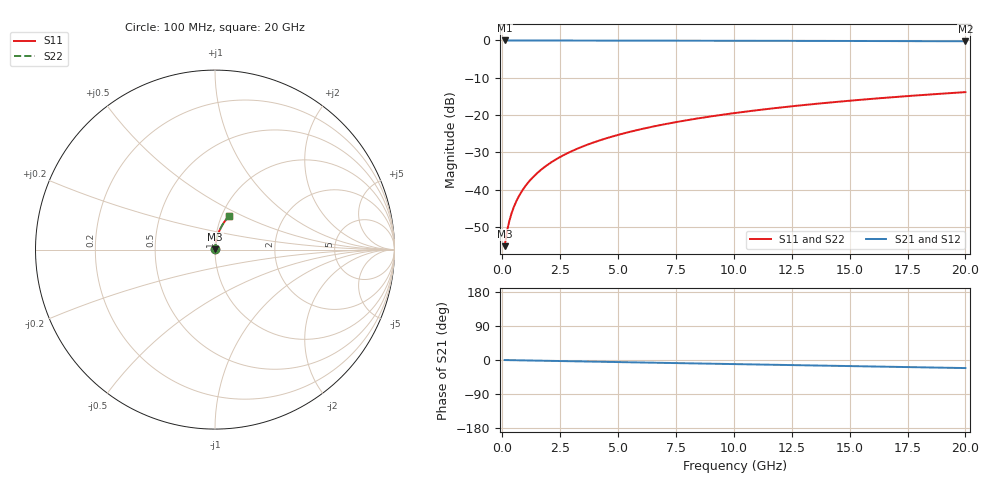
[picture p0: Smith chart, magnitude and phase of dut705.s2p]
! Touchstone file exported from HFSS 2026.1.0
!  File:  C:/ffzhzh/LocalFiles/Ansys_Project_Files/temp_train_BSMRDL_705_1783168080_18472.aedt
!  Generated:  08:29:14 PM Jul  4, 2026
!  Design:  BSMRDL
!  Project:  temp_train_BSMRDL_705_1783168080_18472
! Variables:
!  h_bsmrdl = 3.68um
!  h_ox = 20um
!  h_rdl = 5um
!  h_sub = 80um
!  h_tmrdl = 5um
!  h_tsv = 80um
!  h_via = 3um
!  l_bsmrdl = 277.73um
!  l_sub = 677.73um
!  l_tmrdl = 200um
!  m_sub = 200um
!  pitch = 51.94um
!  r_tsv = 6um
!  s_tmrdl = 10um
!  w_bsmrdl = 25.9um
!  w_sub = 500um
!  w_tmrdl = 12um
!  x_tsv_center1 = 206um
!  x_tsv_center2 = 509.63um
!  x_tsv_center3 = 721.63um
!  x_tsv_center4 = 1025.26um
!  x_tsv_center5 = 1237.26um
!  x_tsv_center6 = 1540.89um
# GHz S MA R 50.000000
! Terminal data exported
! Port[1] = BSM_RDL1_1_T1
! Port[2] = BSM_RDL1_1_T2
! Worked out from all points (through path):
!   200 points, 100 MHz to 20 GHz, reference 50 ohm
!   highest |S21| = -0.01 dB at 100 MHz (marker M1); lowest = -0.2 dB at 20 GHz (marker M2)
!   group delay of S21, straight-line fit = 2.95 ps
!   lowest |S11| = -55.2 dB at 100 MHz (marker M3), VSWR 1.00, Z = 50.1 + j0.121 ohm
!   |S11| at or under -10 dB: start of sweep to end of sweep
!   |S22| runs from -55.2 to -13.9 dB; largest |S21 - S12| = 3.5e-15
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0.1  0.001747 43.6  0.9987 -0.1  0.9987 -0.1  0.001747 43.6
! Gamma 0 0 0 0
! Port Impedance 50 0 50 0
0.2  0.002721 60.3  0.9987 -0.2  0.9987 -0.2  0.002721 60.3
0.3  0.003764 67.6  0.9986 -0.3  0.9986 -0.3  0.003764 67.6
0.4  0.004813 71.7  0.9985 -0.5  0.9985 -0.5  0.004813 71.7
0.5  0.005865 74.4  0.9985 -0.6  0.9985 -0.6  0.005866 74.4
0.6  0.006922 76.3  0.9984 -0.7  0.9984 -0.7  0.006922 76.3
0.8  0.009049 78.9  0.9984 -0.9  0.9984 -0.9  0.009049 78.9
1.1  0.01227 81.0  0.9983 -1.2  0.9983 -1.2  0.01227 81.0
1.5  0.01658 82.4  0.9982 -1.7  0.9982 -1.7  0.01658 82.4
1.8  0.01983 82.9  0.998 -2.0  0.998 -2.0  0.01983 82.9
2.1  0.02308 83.1  0.9979 -2.3  0.9979 -2.3  0.02308 83.1
2.7  0.02956 83.2  0.9976 -3.0  0.9976 -3.0  0.02956 83.2
3.5  0.03817 82.9  0.9971 -3.9  0.9971 -3.9  0.03817 82.9
4.2  0.04566 82.4  0.9966 -4.6  0.9966 -4.6  0.04566 82.4
5  0.05416 81.8  0.996 -5.5  0.996 -5.5  0.05416 81.8
5.9  0.06365 81.0  0.9951 -6.5  0.9951 -6.5  0.06365 81.0
6.8  0.07305 80.1  0.9942 -7.4  0.9942 -7.4  0.07305 80.1
8.3  0.08857 78.7  0.9925 -9.0  0.9925 -9.0  0.08856 78.7
10.1  0.1069 76.9  0.9903 -11.0  0.9903 -11.0  0.1069 76.9
13.4  0.1399 73.7  0.9855 -14.4  0.9855 -14.4  0.1399 73.7
16.7  0.1718 70.4  0.9799 -17.9  0.9799 -17.9  0.1718 70.4
20  0.2027 67.1  0.9736 -21.3  0.9736 -21.3  0.2027 67.1
